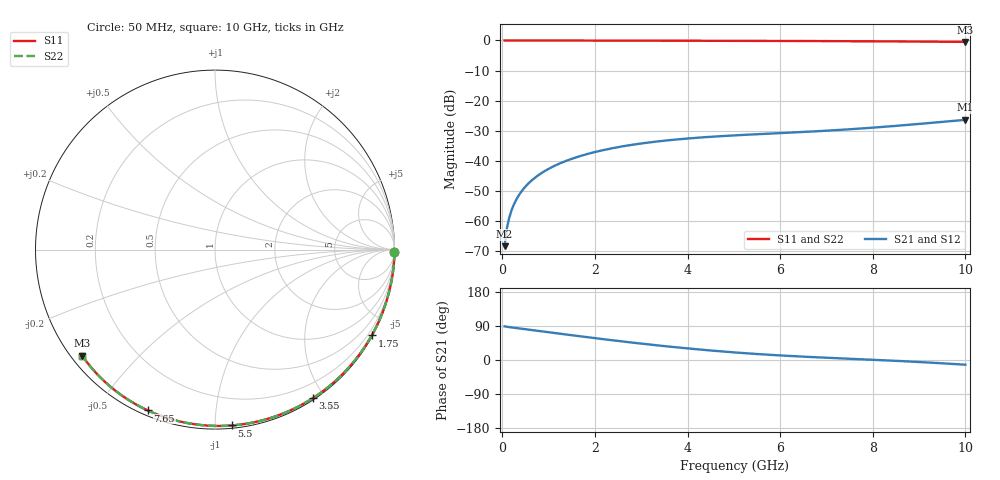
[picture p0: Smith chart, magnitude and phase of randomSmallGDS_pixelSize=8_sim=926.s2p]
! freq	dB(S11)	phase(S11)	dB(S12)	phase(S12)
!  dB(S21)	phase(S21)	dB(S22)	phase(S22)
!S-par simulation data
#  GHz  S  DB  R 50
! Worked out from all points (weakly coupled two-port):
!   200 points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, 50 MHz to 10 GHz, reference 50 ohm
!   highest |S21| = -26.33 dB at 10 GHz (marker M1); lowest = -68.3 dB at 50 MHz (marker M2)
!   lowest |S11| = -0.5 dB at 10 GHz (marker M3), VSWR 36.94, Z = 1.52 - j17.5 ohm
!   |S11| at or under -10 dB: nowhere
!   |S22| runs from -0.5 to 0.0 dB; largest |S21 - S12| = 0
!   S11 on the Smith chart (normalised r, x): 50 MHz: open; 1.75 GHz: 0.03, -3.91; 3.55 GHz: 0.02, -1.85; 5.5 GHz: 0.02, -1.10; 7.65 GHz: 0.02, -0.67; 10 GHz: 0.03, -0.35
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0.05  -0.00 -0.8  -68.25 88.8  -68.25 88.8  -0.00 -0.8
0.1  -0.00 -1.7  -62.27 87.7  -62.27 87.7  -0.00 -1.7
0.15  -0.00 -2.5  -58.79 86.8  -58.79 86.8  -0.00 -2.5
0.2  -0.00 -3.3  -56.32 85.9  -56.32 85.9  -0.00 -3.3
0.25  -0.00 -4.2  -54.41 85.1  -54.41 85.1  -0.00 -4.2
0.35  -0.00 -5.8  -51.53 83.6  -51.53 83.6  -0.00 -5.8
0.5  -0.01 -8.3  -48.48 81.2  -48.48 81.2  -0.01 -8.3
0.7  -0.01 -11.6  -45.61 78.1  -45.61 78.1  -0.01 -11.6
1  -0.02 -16.5  -42.59 73.3  -42.59 73.3  -0.02 -16.5
1.35  -0.03 -22.2  -40.11 67.8  -40.11 67.8  -0.03 -22.2
1.75  -0.04 -28.7  -38.04 61.5  -38.04 61.5  -0.04 -28.7
2.5  -0.05 -40.6  -35.40 50.3  -35.40 50.3  -0.05 -40.6
3.4  -0.07 -54.4  -33.42 37.9  -33.42 37.9  -0.07 -54.4
3.55  -0.08 -56.7  -33.17 36.0  -33.17 36.0  -0.08 -56.7
4.3  -0.10 -67.7  -32.18 27.2  -32.18 27.2  -0.10 -67.7
5.05  -0.12 -78.4  -31.46 19.7  -31.46 19.7  -0.12 -78.4
5.5  -0.14 -84.6  -31.11 15.8  -31.11 15.8  -0.14 -84.6
6.7  -0.19 -100.6  -30.20 7.6  -30.20 7.6  -0.19 -100.5
7.65  -0.25 -112.7  -29.32 2.5  -29.32 2.5  -0.25 -112.6
8.35  -0.31 -121.4  -28.52 -1.3  -28.52 -1.3  -0.31 -121.3
9.2  -0.38 -131.7  -27.42 -6.6  -27.42 -6.6  -0.38 -131.7
10  -0.47 -141.4  -26.33 -12.4  -26.33 -12.4  -0.47 -141.4
